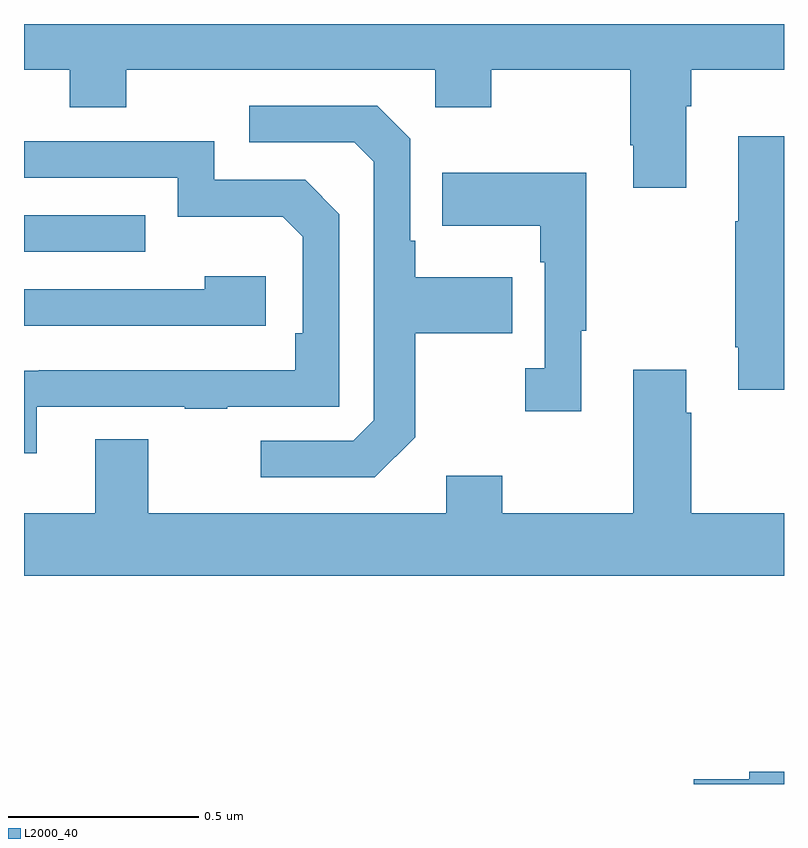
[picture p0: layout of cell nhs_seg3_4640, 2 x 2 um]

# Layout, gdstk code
import gdstk
lib = gdstk.Library(unit=1e-6, precision=1e-09)
def R(c, l, rs):  # rectangles x0, y0, x1, y1
    for r in rs: c.add(gdstk.rectangle(r[:2], r[2:], *l))
def P(c, l, *ps):  # polygons
    for p in ps: c.add(gdstk.Polygon(p, *l))
L2000_40 = (2000, 40)

nhs_seg3_4640 = lib.new_cell('nhs_seg3_4640')
R(nhs_seg3_4640, L2000_40, [(169,669.801,169.319,669.897)])
P(nhs_seg3_4640, L2000_40, [(170.743,670.184),(170.756,670.184),(170.756,670.28),(171,670.28),(171,670.4),(169,670.4),(169,670.28),(169.121,670.28),(169.121,670.181),(169.269,670.181),(169.269,670.28),(170.082,670.28),(170.082,670.181),(170.229,670.181),(170.229,670.28),(170.596,670.28),(170.596,670.081),(170.603,670.081),(170.603,669.969),(170.743,669.969)],
  [(170.029,669.313),(170.029,669.586),(170.285,669.586),(170.285,669.733),(170.029,669.733),(170.029,669.829),(170.016,669.829),(170.016,670.098),(169.929,670.185),(169.593,670.185),(169.593,670.089),(169.869,670.089),(169.92,670.038),(169.92,669.357),(169.866,669.303),(169.623,669.303),(169.623,669.207),(169.923,669.207)],
  [(171,670.105),(170.879,670.105),(170.879,669.881),(170.872,669.881),(170.872,669.55),(170.879,669.55),(170.879,669.438),(171,669.438)],
  [(169.033,669.393),(169.423,669.393),(169.423,669.388),(169.535,669.388),(169.535,669.393),(169.83,669.393),(169.83,669.9),(169.74,669.99),(169.5,669.99),(169.5,670.092),(169,670.092),(169,669.996),(169.404,669.996),(169.404,669.893),(169.681,669.893),(169.734,669.84),(169.734,669.586),(169.714,669.586),(169.714,669.489),(169.039,669.489),(169.039,669.488),(169,669.488),(169,669.27),(169.033,669.27)],
  [(170.467,669.593),(170.479,669.593),(170.479,670.009),(170.101,670.009),(170.101,669.869),(170.358,669.869),(170.358,669.773),(170.37,669.773),(170.37,669.494),(170.319,669.494),(170.319,669.381),(170.467,669.381)],
  [(169.636,669.736),(169.475,669.736),(169.475,669.702),(169,669.702),(169,669.606),(169.636,669.606)],
  [(171,669.112),(170.756,669.112),(170.756,669.377),(170.743,669.377),(170.743,669.49),(170.603,669.49),(170.603,669.112),(170.259,669.112),(170.259,669.211),(170.111,669.211),(170.111,669.112),(169.327,669.112),(169.327,669.307),(169.187,669.307),(169.187,669.112),(169,669.112),(169,668.948),(171,668.948)],
  [(171,668.432),(170.908,668.432),(170.908,668.412),(170.762,668.412),(170.762,668.4),(171,668.4)])

lib.write_gds('nhs_seg3_4640.gds')
